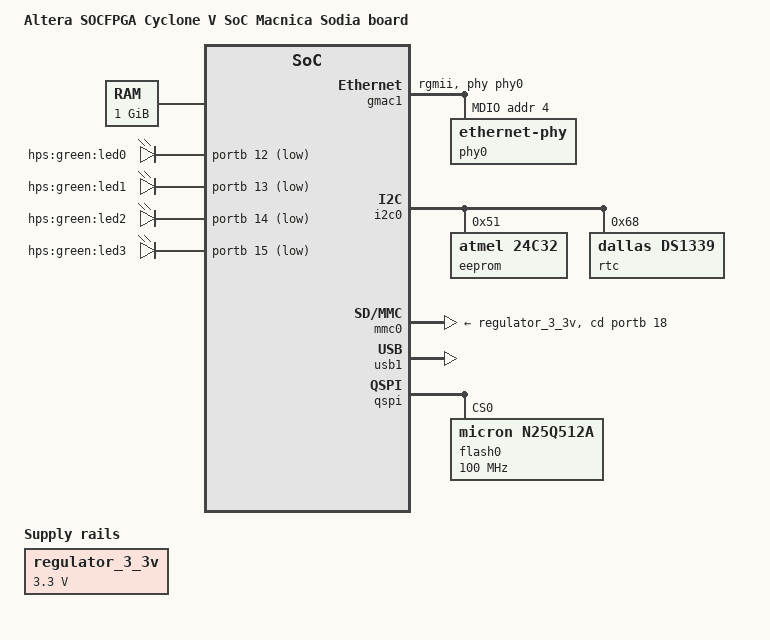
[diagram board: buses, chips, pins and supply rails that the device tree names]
// SPDX-License-Identifier: GPL-2.0+
/*
 * Copyright (C) 2016 Nobuhiro Iwamatsu <iwamatsu@nigauri.org>
 */

#include "socfpga_cyclone5.dtsi"
#include <dt-bindings/gpio/gpio.h>
#include <dt-bindings/input/input.h>

/ {
	model = "Altera SOCFPGA Cyclone V SoC Macnica Sodia board";
	compatible = "macnica,sodia", "altr,socfpga-cyclone5", "altr,socfpga";

	chosen {
		bootargs = "earlyprintk";
		stdout-path = "serial0:115200n8";
	};

	memory@0 {
		name = "memory";
		device_type = "memory";
		reg = <0x0 0x40000000>;
	};

	aliases {
		ethernet0 = &gmac1;
	};

	regulator_3_3v: regulator {
		compatible = "regulator-fixed";
		regulator-name = "3.3V";
		regulator-min-microvolt = <3300000>;
		regulator-max-microvolt = <3300000>;
	};

	leds: gpio-leds {
		compatible = "gpio-leds";

		hps_led0 {
			label = "hps:green:led0";
			gpios = <&portb 12 GPIO_ACTIVE_LOW>;
		};

		hps_led1 {
			label = "hps:green:led1";
			gpios = <&portb 13 GPIO_ACTIVE_LOW>;
		};

		hps_led2 {
			label = "hps:green:led2";
			gpios = <&portb 14 GPIO_ACTIVE_LOW>;
		};

		hps_led3 {
			label = "hps:green:led3";
			gpios = <&portb 15 GPIO_ACTIVE_LOW>;
		};
	};
};

&gmac1 {
	status = "okay";
	phy-mode = "rgmii";
	phy = <&phy0>;

	mdio0 {
		#address-cells = <1>;
		#size-cells = <0>;
		compatible = "snps,dwmac-mdio";

		phy0: ethernet-phy@4 {
			reg = <4>;
			rxd0-skew-ps = <0>;
			rxd1-skew-ps = <0>;
			rxd2-skew-ps = <0>;
			rxd3-skew-ps = <0>;
			rxdv-skew-ps = <0>;
			rxc-skew-ps = <3000>;
			txen-skew-ps = <0>;
			txc-skew-ps = <3000>;
		};
	};
};

&gpio1 {
	status = "okay";
};

&i2c0 {
	status = "okay";

	eeprom@51 {
		compatible = "atmel,24c32";
		reg = <0x51>;
		pagesize = <32>;
	};

	rtc@68 {
		compatible = "dallas,ds1339";
		reg = <0x68>;
	};
};

&mmc0 {
	cd-gpios = <&portb 18 0>;
	vmmc-supply = <&regulator_3_3v>;
	vqmmc-supply = <&regulator_3_3v>;
	status = "okay";
};

&usb1 {
	status = "okay";
};

&qspi {
	status = "okay";

	flash0: flash@0 {
		#address-cells = <1>;
		#size-cells = <1>;
		compatible = "micron,n25q512a", "jedec,spi-nor";
		reg = <0>;
		spi-max-frequency = <100000000>;

		m25p,fast-read;
		cdns,read-delay = <4>;
		cdns,tshsl-ns = <50>;
		cdns,tsd2d-ns = <50>;
		cdns,tchsh-ns = <4>;
		cdns,tslch-ns = <4>;
	};
};
